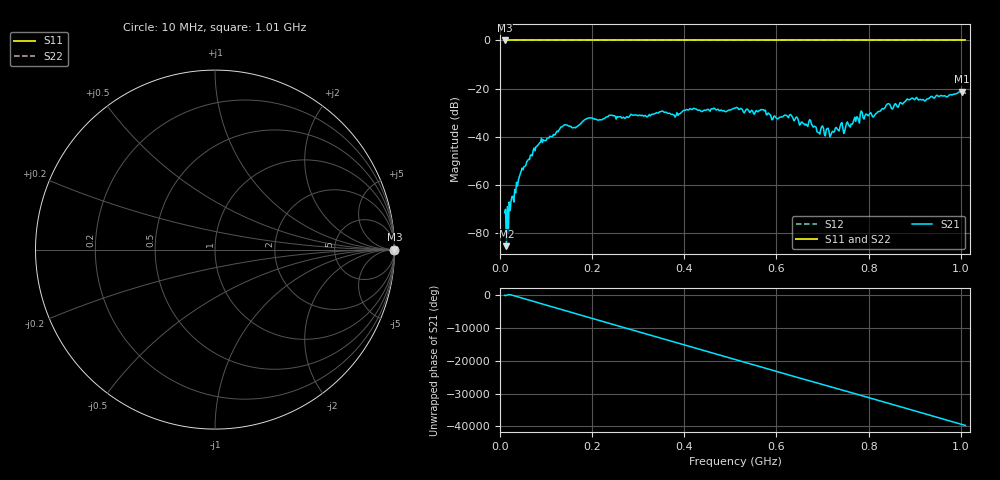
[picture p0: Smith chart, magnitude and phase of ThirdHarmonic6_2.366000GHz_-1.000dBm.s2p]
! 8/17/2025 3:40:15 AM
! C:\ANRITSUVNA\TEMP\TEMP.S2P
! CHANNEL.1
! TR.MEASUREMENT
! RAW.DATA
! RF.CORRECTION.OFF
! AVERAGING.OFF
! IF.BANDWIDTH: 5KHZ
! SWEEPTYPE:  FREQ.SWEEP(Linear)
! Reference Plane Port Info
! PORT:  PORT1  PORT2
! DISTANCE:  0  m  0  m
! TIME:  0  s  0  s
! PHASE.OFFSET:  0  deg.  0  deg.
! LOSS:  0  dB  0  dB
! REF.LOSS:  0  dB  0  dB
! REF.FREQ:  0  Hz  0  Hz
! Power Info
! POWER:  -20  dBm  -20  dBm
! EFF.POWER:  -20  dBm  -20  dBm
! SOURCE.ATTEN:  0  dB  0  dB
! TEST.ATTEN:  0  dB  0  dB
# GHZ S RI R 50.0
! FREQ.GHZ  S11RE  S11IM  S21RE  S21IM  S12RE  S12IM  S22RE  S22IM
!; PortSelection: Port_12
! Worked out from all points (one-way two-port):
!   501 points, 10 MHz to 1.01 GHz, reference 50 ohm
!   highest |S21| = -21.23 dB at 1.002 GHz (marker M1); lowest = -85.5 dB at 14 MHz (marker M2)
!   lowest |S11| = 0.0 dB at 10 MHz (marker M3)
!   |S11| at or under -10 dB: nowhere
!   |S22| runs from 0.0 to 0.0 dB; largest |S21 - S12| = 1.1
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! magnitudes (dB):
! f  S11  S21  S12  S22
! 10 MHz  0.0  -71.6  0.0  0.0
! 14 MHz  0.0  -85.5  0.0  0.0
! 18 MHz  0.0  -80.4  0.0  0.0
! 24 MHz  0.0  -66.7  0.0  0.0
! 44 MHz  0.0  -55.6  0.0  0.0
! 76 MHz  0.0  -45.9  0.0  0.0
! 136 MHz  0.0  -35.7  0.0  0.0
! 162 MHz  0.0  -36.2  0.0  0.0
! 178 MHz  0.0  -34.0  0.0  0.0
! 344 MHz  0.0  -30.1  0.0  0.0
! 378 MHz  0.0  -31.1  0.0  0.0
! 416 MHz  0.0  -28.8  0.0  0.0
! 510 MHz  0.0  -28.1  0.0  0.0
! 572 MHz  0.0  -28.8  0.0  0.0
! 594 MHz  0.0  -31.6  0.0  0.0
! 632 MHz  0.0  -31.1  0.0  0.0
! 678 MHz  0.0  -35.5  0.0  0.0
! 690 MHz  0.0  -38.2  0.0  0.0
! 720 MHz  0.0  -38.3  0.0  0.0
! 844 MHz  0.0  -26.3  0.0  0.0
! 1.002 GHz  0.0  -21.2  0.0  0.0
! 1.01 GHz  0.0  -21.9  0.0  0.0
